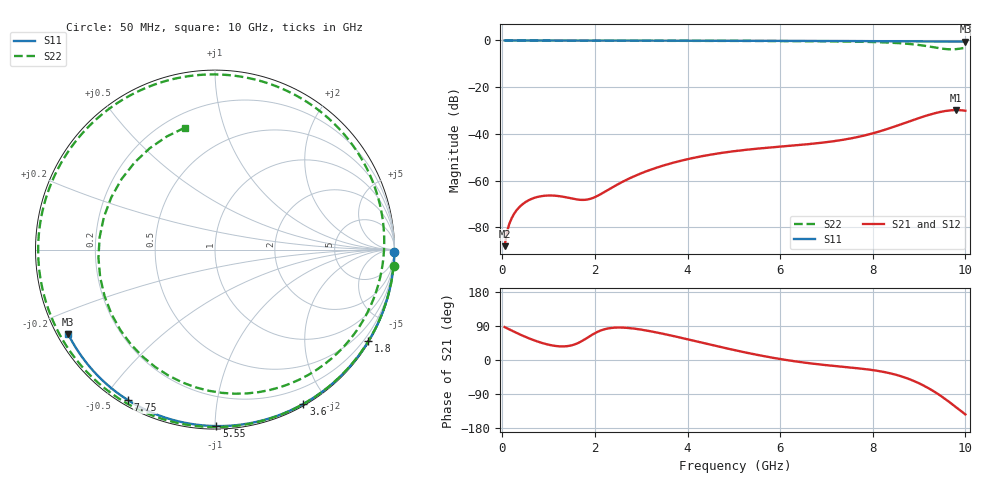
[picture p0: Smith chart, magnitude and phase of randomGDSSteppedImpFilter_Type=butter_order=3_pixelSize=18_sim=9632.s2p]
! freq	dB(S11)	phase(S11)	dB(S12)	phase(S12)
!  dB(S21)	phase(S21)	dB(S22)	phase(S22)
!S-par simulation data
#  GHz  S  DB  R 50
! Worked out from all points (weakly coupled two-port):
!   200 points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, 50 MHz to 10 GHz, reference 50 ohm
!   highest |S21| = -29.79 dB at 9.8 GHz (marker M1); lowest = -88.0 dB at 50 MHz (marker M2)
!   lowest |S11| = -0.5 dB at 10 GHz (marker M3), VSWR 34.71, Z = 1.54 - j13.3 ohm
!   |S11| at or under -10 dB: nowhere
!   |S22| runs from -3.8 to 0.0 dB; largest |S21 - S12| = 0
!   S11 on the Smith chart (normalised r, x): 50 MHz: open; 1.8 GHz: 0.03, -3.62; 3.6 GHz: 0.02, -1.73; 5.55 GHz: 0.02, -1.01; 7.75 GHz: 0.02, -0.58; 10 GHz: 0.03, -0.27
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0.05  -0.00 -0.9  -88.04 86.9  -88.04 86.9  -0.00 -5.3
0.45  -0.01 -7.8  -69.89 63.7  -69.89 63.7  -0.06 -46.0
0.8  -0.02 -13.9  -66.79 47.1  -66.79 47.1  -0.09 -77.3
1.2  -0.03 -20.7  -66.55 36.3  -66.55 36.3  -0.10 -107.0
1.75  -0.04 -30.1  -68.24 52.2  -68.24 52.2  -0.11 -139.2
1.8  -0.04 -30.9  -68.18 55.9  -68.18 55.9  -0.12 -141.8
2.55  -0.06 -43.3  -60.98 85.7  -60.98 85.7  -0.13 -175.1
3.4  -0.08 -57.0  -54.01 71.0  -54.01 71.0  -0.14 153.8
3.6  -0.08 -60.2  -52.83 65.8  -52.83 65.8  -0.14 146.9
4.35  -0.10 -71.8  -49.39 44.7  -49.39 44.7  -0.17 121.9
5.05  -0.13 -82.3  -47.29 25.1  -47.29 25.1  -0.20 98.6
5.55  -0.15 -89.6  -46.23 12.5  -46.23 12.5  -0.23 81.6
6.7  -0.20 -105.8  -44.19 -9.6  -44.19 -9.6  -0.32 39.7
7.25  -0.24 -113.4  -42.85 -16.7  -42.85 -16.7  -0.41 17.5
7.75  -0.28 -120.1  -40.99 -22.8  -40.99 -22.8  -0.56 -4.8
8.35  -0.33 -128.2  -37.66 -34.4  -37.66 -34.4  -0.93 -36.8
8.8  -0.37 -134.1  -34.56 -51.0  -34.56 -51.0  -1.52 -68.7
9.15  -0.41 -138.8  -32.23 -70.9  -32.23 -70.9  -2.36 -104.0
9.5  -0.45 -143.4  -30.42 -97.4  -30.42 -97.4  -3.50 -156.9
9.65  -0.46 -145.4  -29.97 -110.6  -29.97 -110.6  -3.79 173.9
9.8  -0.48 -147.4  -29.79 -124.7  -29.79 -124.7  -3.71 142.9
10  -0.50 -150.1  -30.08 -143.7  -30.08 -143.7  -3.10 103.9
